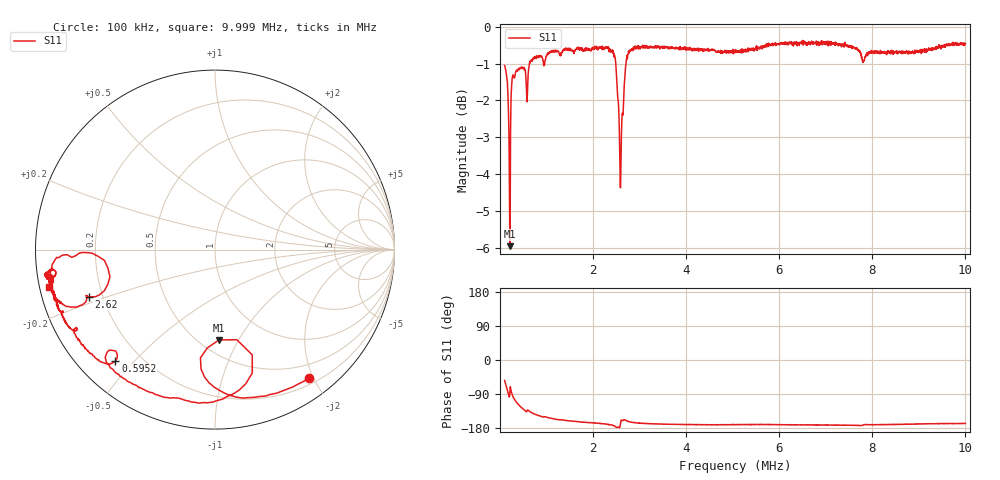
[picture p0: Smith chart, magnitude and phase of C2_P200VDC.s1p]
# HZ S RI R 50
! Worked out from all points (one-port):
!   2020 points, 100 kHz to 9.999 MHz, reference 50 ohm
!   lowest |S11| = -6.0 dB at 212.8 kHz (marker M1), VSWR 3.03, Z = 30.9 - j41.6 ohm
!   |S11| at or under -10 dB: nowhere
!   S11 on the Smith chart (normalised r, x): 100 kHz: 0.29, -1.93; 595.2 kHz: 0.11, -0.44; 2.62 MHz: 0.15, -0.18; 9.999 MHz: 0.03, -0.11
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100000  0.5211 -0.7162
139224  0.2804 -0.8161
163739  0.1165 -0.8213
212769  0.0223 -0.5032
261799  -0.0128 -0.8499
291217  -0.1466 -0.8435
345150  -0.2931 -0.8195
423598  -0.4547 -0.7505
516755  -0.578 -0.6604
595203  -0.5552 -0.6211
649136  -0.6529 -0.6155
855062  -0.7684 -0.4914
1340459  -0.8584 -0.3487
2419119  -0.922 -0.1248
2477955  -0.8999 -0.0736
2531888  -0.799 -0.0425
2576015  -0.6504 -0.0379
2620142  -0.7042 -0.2643
2649560  -0.7176 -0.2873
2693687  -0.8162 -0.317
2826068  -0.8989 -0.2505
3816474  -0.923 -0.1621
5052030  -0.9155 -0.1507
6287586  -0.9383 -0.1458
7528045  -0.9295 -0.1317
7817322  -0.8874 -0.1399
8763601  -0.9034 -0.1686
9999157  -0.9255 -0.2066
